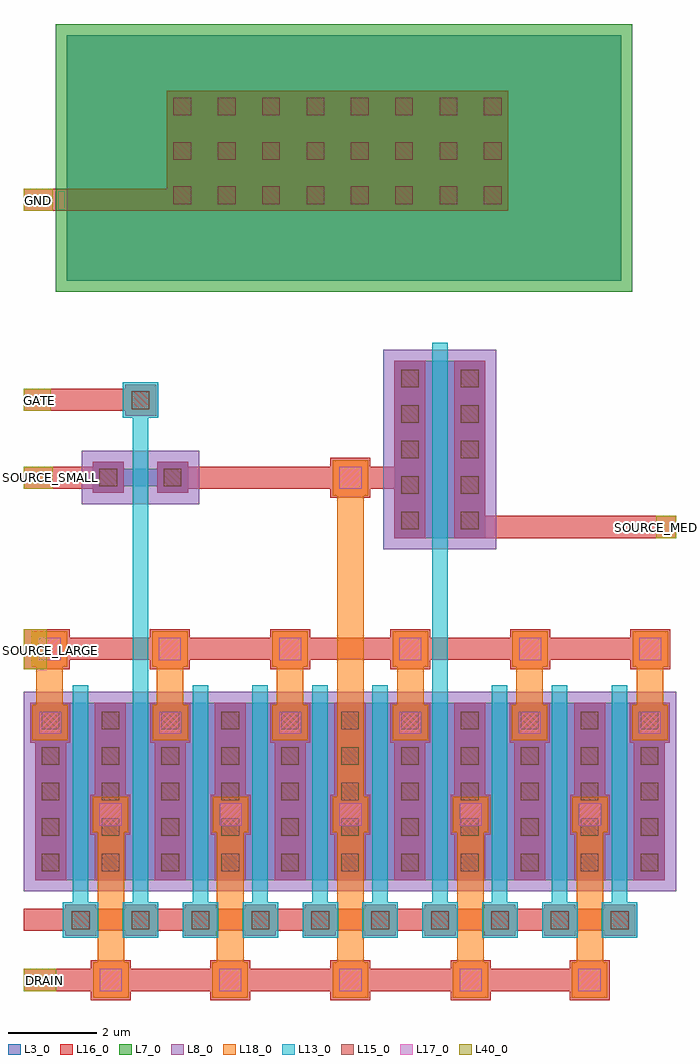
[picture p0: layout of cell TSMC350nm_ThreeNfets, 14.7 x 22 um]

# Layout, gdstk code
import gdstk
lib = gdstk.Library(unit=1e-6, precision=1e-09)
def R(c, l, rs):  # rectangles x0, y0, x1, y1
    for r in rs: c.add(gdstk.rectangle(r[:2], r[2:], *l))
def A(c, l, x, y, w, h, nx, ny, dx, dy):  # array of equal rectangles
    R(c, l, [(x+i*dx, y+j*dy, x+i*dx+w, y+j*dy+h) for i in range(nx) for j in range(ny)])
L3_0 = (3, 0)
L7_0 = (7, 0)
L8_0 = (8, 0)
L13_0 = (13, 0)
L15_0 = (15, 0)
L16_0 = (16, 0)
L17_0 = (17, 0)
L18_0 = (18, 0)
L40_0 = (40, 0)

nch_cdns_731039149290 = lib.new_cell('nch_CDNS_731039149290')
R(nch_cdns_731039149290, L3_0, [(-0.9,-0.15,-0.2,0.55), (0.55,-0.15,1.25,0.55), (-0.9,0,-0.2,0.4), (-0.2,0,0.55,0.4), (0.55,0,1.25,0.4)])
R(nch_cdns_731039149290, L8_0, [(-1.15,-0.4,1.5,0.8)])
R(nch_cdns_731039149290, L13_0, [(0,-0.4,0.35,0.8)])
R(nch_cdns_731039149290, L15_0, [(-0.75,0,-0.35,0.4), (0.7,0,1.1,0.4)])
R(nch_cdns_731039149290, L16_0, [(-0.9,-0.15,-0.2,0.55), (0.55,-0.15,1.25,0.55)])
nch_cdns_731039149290.add(gdstk.Label('G', (0.175,0.2), layer=59, texttype=0))
nch_cdns_731039149290.add(gdstk.Label('S', (-0.55,0.2), layer=59, texttype=0))
nch_cdns_731039149290.add(gdstk.Label('D', (0.9,0.2), layer=59, texttype=0))
nch_cdns_731039149290.add(gdstk.Label('& Vendor VIS Corp.', (0,0), layer=16, texttype=0))
nch_cdns_731039149290.add(gdstk.Label('& PDKName     vis35cv', (0,0), layer=16, texttype=0))
nch_cdns_731039149290.add(gdstk.Label('& Version    \t  1.7A', (0,0), layer=16, texttype=0))
nch_cdns_731039149290.add(gdstk.Label('& Metric 1', (0,0), layer=16, texttype=0))
nch_cdns_731039149290.add(gdstk.Label('& Distributor VIS', (0,0), layer=16, texttype=0))
nch_cdns_731039149290.add(gdstk.Label('& SerialNumber 000000', (0,0), layer=16, texttype=0))
nch_cdns_731039149290.add(gdstk.Label('& Vendor VIS Corp.', (0,0), layer=63, texttype=63))
nch_cdns_731039149290.add(gdstk.Label('& PDKName     vis35cv', (0,0), layer=63, texttype=63))
nch_cdns_731039149290.add(gdstk.Label('& Version    \t  1.7A', (0,0), layer=63, texttype=63))
nch_cdns_731039149290.add(gdstk.Label('& Metric 1', (0,0), layer=63, texttype=63))
nch_cdns_731039149290.add(gdstk.Label('& Distributor VIS', (0,0), layer=63, texttype=63))
nch_cdns_731039149290.add(gdstk.Label('& SerialNumber 000000', (0,0), layer=63, texttype=63))

nch_cdns_731039149291 = lib.new_cell('nch_CDNS_731039149291')
R(nch_cdns_731039149291, L3_0, [(-0.85,0,-0.15,4), (-0.85,0,-0.15,4), (-0.15,0,0.5,4), (0.5,0,1.2,4), (0.5,0,1.2,4)])
R(nch_cdns_731039149291, L8_0, [(-1.1,-0.25,1.45,4.25)])
R(nch_cdns_731039149291, L13_0, [(0,-0.4,0.35,4.4)])
A(nch_cdns_731039149291, L15_0, -0.7, 0.2, 0.4, 0.4, 1, 5, 0, 0.8)
A(nch_cdns_731039149291, L15_0, 0.65, 0.2, 0.4, 0.4, 1, 5, 0, 0.8)
R(nch_cdns_731039149291, L16_0, [(-0.85,0,-0.15,4), (0.5,0,1.2,4)])
nch_cdns_731039149291.add(gdstk.Label('G', (0.175,2), layer=59, texttype=0))
nch_cdns_731039149291.add(gdstk.Label('S', (-0.5,2), layer=59, texttype=0))
nch_cdns_731039149291.add(gdstk.Label('D', (0.85,2), layer=59, texttype=0))
nch_cdns_731039149291.add(gdstk.Label('& Vendor VIS Corp.', (0,0), layer=16, texttype=0))
nch_cdns_731039149291.add(gdstk.Label('& PDKName     vis35cv', (0,0), layer=16, texttype=0))
nch_cdns_731039149291.add(gdstk.Label('& Version    \t  1.7A', (0,0), layer=16, texttype=0))
nch_cdns_731039149291.add(gdstk.Label('& Metric 1', (0,0), layer=16, texttype=0))
nch_cdns_731039149291.add(gdstk.Label('& Distributor VIS', (0,0), layer=16, texttype=0))
nch_cdns_731039149291.add(gdstk.Label('& SerialNumber 000000', (0,0), layer=16, texttype=0))
nch_cdns_731039149291.add(gdstk.Label('& Vendor VIS Corp.', (0,0), layer=63, texttype=63))
nch_cdns_731039149291.add(gdstk.Label('& PDKName     vis35cv', (0,0), layer=63, texttype=63))
nch_cdns_731039149291.add(gdstk.Label('& Version    \t  1.7A', (0,0), layer=63, texttype=63))
nch_cdns_731039149291.add(gdstk.Label('& Metric 1', (0,0), layer=63, texttype=63))
nch_cdns_731039149291.add(gdstk.Label('& Distributor VIS', (0,0), layer=63, texttype=63))
nch_cdns_731039149291.add(gdstk.Label('& SerialNumber 000000', (0,0), layer=63, texttype=63))

nch_cdns_731039149292 = lib.new_cell('nch_CDNS_731039149292')
A(nch_cdns_731039149292, L3_0, -0.85, 0, 0.7, 4, 11, 1, 1.35, 0)
A(nch_cdns_731039149292, L3_0, -0.15, 0, 0.65, 4, 10, 1, 1.35, 0)
R(nch_cdns_731039149292, L3_0, [(-0.85,0,-0.15,4), (12.65,0,13.35,4)])
R(nch_cdns_731039149292, L8_0, [(-1.1,-0.25,13.6,4.25)])
A(nch_cdns_731039149292, L13_0, 0, -0.4, 0.35, 4.8, 10, 1, 1.35, 0)
A(nch_cdns_731039149292, L15_0, -0.7, 0.2, 0.4, 0.4, 11, 5, 1.35, 0.8)
A(nch_cdns_731039149292, L16_0, -0.85, 0, 0.7, 4, 11, 1, 1.35, 0)
nch_cdns_731039149292.add(gdstk.Label('G', (0.175,2), layer=59, texttype=0))
nch_cdns_731039149292.add(gdstk.Label('G', (1.525,2), layer=59, texttype=0))
nch_cdns_731039149292.add(gdstk.Label('G', (2.875,2), layer=59, texttype=0))
nch_cdns_731039149292.add(gdstk.Label('G', (4.225,2), layer=59, texttype=0))
nch_cdns_731039149292.add(gdstk.Label('G', (5.575,2), layer=59, texttype=0))
nch_cdns_731039149292.add(gdstk.Label('G', (6.925,2), layer=59, texttype=0))
nch_cdns_731039149292.add(gdstk.Label('G', (8.275,2), layer=59, texttype=0))
nch_cdns_731039149292.add(gdstk.Label('G', (9.625,2), layer=59, texttype=0))
nch_cdns_731039149292.add(gdstk.Label('G', (10.975,2), layer=59, texttype=0))
nch_cdns_731039149292.add(gdstk.Label('G', (12.325,2), layer=59, texttype=0))
nch_cdns_731039149292.add(gdstk.Label('S', (13,2), layer=59, texttype=0))
nch_cdns_731039149292.add(gdstk.Label('S', (-0.5,2), layer=59, texttype=0))
nch_cdns_731039149292.add(gdstk.Label('S', (2.2,2), layer=59, texttype=0))
nch_cdns_731039149292.add(gdstk.Label('S', (4.9,2), layer=59, texttype=0))
nch_cdns_731039149292.add(gdstk.Label('S', (7.6,2), layer=59, texttype=0))
nch_cdns_731039149292.add(gdstk.Label('S', (10.3,2), layer=59, texttype=0))
nch_cdns_731039149292.add(gdstk.Label('D', (0.85,2), layer=59, texttype=0))
nch_cdns_731039149292.add(gdstk.Label('D', (3.55,2), layer=59, texttype=0))
nch_cdns_731039149292.add(gdstk.Label('D', (6.25,2), layer=59, texttype=0))
nch_cdns_731039149292.add(gdstk.Label('D', (8.95,2), layer=59, texttype=0))
nch_cdns_731039149292.add(gdstk.Label('D', (11.65,2), layer=59, texttype=0))
nch_cdns_731039149292.add(gdstk.Label('& Vendor VIS Corp.', (0,0), layer=16, texttype=0))
nch_cdns_731039149292.add(gdstk.Label('& PDKName     vis35cv', (0,0), layer=16, texttype=0))
nch_cdns_731039149292.add(gdstk.Label('& Version    \t  1.7A', (0,0), layer=16, texttype=0))
nch_cdns_731039149292.add(gdstk.Label('& Metric 1', (0,0), layer=16, texttype=0))
nch_cdns_731039149292.add(gdstk.Label('& Distributor VIS', (0,0), layer=16, texttype=0))
nch_cdns_731039149292.add(gdstk.Label('& SerialNumber 000000', (0,0), layer=16, texttype=0))
nch_cdns_731039149292.add(gdstk.Label('& Vendor VIS Corp.', (0,0), layer=63, texttype=63))
nch_cdns_731039149292.add(gdstk.Label('& PDKName     vis35cv', (0,0), layer=63, texttype=63))
nch_cdns_731039149292.add(gdstk.Label('& Version    \t  1.7A', (0,0), layer=63, texttype=63))
nch_cdns_731039149292.add(gdstk.Label('& Metric 1', (0,0), layer=63, texttype=63))
nch_cdns_731039149292.add(gdstk.Label('& Distributor VIS', (0,0), layer=63, texttype=63))
nch_cdns_731039149292.add(gdstk.Label('& SerialNumber 000000', (0,0), layer=63, texttype=63))

m1_pactive_cdns_73103914 = lib.new_cell('M1_PACTIVE_CDNS_731039149292')
R(m1_pactive_cdns_73103914, L3_0, [(-3.95,-1.45,3.95,1.45)])
R(m1_pactive_cdns_73103914, L7_0, [(-4.2,-1.7,4.2,1.7)])
A(m1_pactive_cdns_73103914, L15_0, -3.7, -1.2, 0.4, 0.4, 8, 3, 1, 1)
R(m1_pactive_cdns_73103914, L16_0, [(-3.85,-1.35,3.85,1.35)])

m1_poly1__190324780_cdns = lib.new_cell('M1_POLY1$$190324780_CDNS_731208373190')
R(m1_poly1__190324780_cdns, L13_0, [(-0.4,-0.4,0.4,0.4)])
R(m1_poly1__190324780_cdns, L15_0, [(-0.2,-0.2,0.2,0.2)])
R(m1_poly1__190324780_cdns, L16_0, [(-0.35,-0.35,0.35,0.35)])

prog_periph_via2_cdns_73 = lib.new_cell('prog_periph_VIA2_CDNS_731208373191')
R(prog_periph_via2_cdns_73, L16_0, [(-0.45,-0.45,0.45,0.45)])
R(prog_periph_via2_cdns_73, L17_0, [(-0.25,-0.25,0.25,0.25)])
R(prog_periph_via2_cdns_73, L18_0, [(-0.4,-0.4,0.4,0.4)])

tsmc350nm_threenfets = lib.new_cell('TSMC350nm_ThreeNfets')
R(tsmc350nm_threenfets, L3_0, [(0.97,16.21,13.46,21.75)])
R(tsmc350nm_threenfets, L7_0, [(0.72,15.96,13.71,22)])
A(tsmc350nm_threenfets, L13_0, 1.1, 1.64, 0.35, 0.97, 10, 1, 1.35, 0)
R(tsmc350nm_threenfets, L13_0, [(9.2,6.93,9.55,11.09), (2.45,7.04,2.8,13.28)])
R(tsmc350nm_threenfets, L16_0, [(0,0.2,13.01,0.7), (0,1.56,13.66,2.06), (0,7.46,0.13,8.36), (0,7.67,14.02,8.17), (9.7,10.41,14.7,10.91), (0,11.52,2.04,12.02), (3.27,11.52,8.93,12.02), (0,13.28,2.86,13.78), (0,17.79,3.22,18.29)])
A(tsmc350nm_threenfets, L18_0, 0.28, 5.99, 0.6, 1.88, 4, 1, 2.71, 0)
R(tsmc350nm_threenfets, L18_0, [(1.66,0.37,2.26,4.48), (4.35,0.37,4.95,4.48), (7.06,0.37,7.66,12.05), (9.77,0.37,10.37,4.48), (12.46,0.37,13.06,4.48), (11.1,5.99,11.7,7.87), (13.81,5.99,14.41,7.87)])
R(tsmc350nm_threenfets, L40_0, [(0,0.2,0.73,0.7), (0,7.46,0.52,8.36), (14.25,10.41,14.7,10.91), (0,11.52,0.65,12.02), (0,13.28,0.6,13.78), (0,17.79,0.65,18.29)])
tsmc350nm_threenfets.add(gdstk.Reference(nch_cdns_731039149290, (2.45,11.58)))
tsmc350nm_threenfets.add(gdstk.Reference(nch_cdns_731039149291, (9.2,10.41)))
tsmc350nm_threenfets.add(gdstk.Reference(nch_cdns_731039149292, (1.1,2.7)))
tsmc350nm_threenfets.add(gdstk.Reference(m1_pactive_cdns_73103914, (7.07,19.14)))
tsmc350nm_threenfets.add(gdstk.Reference(m1_poly1__190324780_cdns, (1.28,1.8)))
tsmc350nm_threenfets.add(gdstk.Reference(m1_poly1__190324780_cdns, (2.63,13.52)))
tsmc350nm_threenfets.add(gdstk.Reference(m1_poly1__190324780_cdns, (2.63,1.8)))
tsmc350nm_threenfets.add(gdstk.Reference(m1_poly1__190324780_cdns, (3.98,1.8)))
tsmc350nm_threenfets.add(gdstk.Reference(m1_poly1__190324780_cdns, (5.33,1.8)))
tsmc350nm_threenfets.add(gdstk.Reference(m1_poly1__190324780_cdns, (6.68,1.8)))
tsmc350nm_threenfets.add(gdstk.Reference(m1_poly1__190324780_cdns, (8.03,1.8)))
tsmc350nm_threenfets.add(gdstk.Reference(m1_poly1__190324780_cdns, (9.38,1.8)))
tsmc350nm_threenfets.add(gdstk.Reference(m1_poly1__190324780_cdns, (10.73,1.8)))
tsmc350nm_threenfets.add(gdstk.Reference(m1_poly1__190324780_cdns, (12.08,1.8)))
tsmc350nm_threenfets.add(gdstk.Reference(m1_poly1__190324780_cdns, (13.43,1.8)))
tsmc350nm_threenfets.add(gdstk.Reference(prog_periph_via2_cdns_73, (0.59,6.25)))
tsmc350nm_threenfets.add(gdstk.Reference(prog_periph_via2_cdns_73, (3.3,6.25)))
tsmc350nm_threenfets.add(gdstk.Reference(prog_periph_via2_cdns_73, (8.71,6.25)))
tsmc350nm_threenfets.add(gdstk.Reference(prog_periph_via2_cdns_73, (6,6.25)))
tsmc350nm_threenfets.add(gdstk.Reference(prog_periph_via2_cdns_73, (14.11,6.25)))
tsmc350nm_threenfets.add(gdstk.Reference(prog_periph_via2_cdns_73, (11.4,6.25)))
tsmc350nm_threenfets.add(gdstk.Reference(prog_periph_via2_cdns_73, (4.66,4.18)))
tsmc350nm_threenfets.add(gdstk.Reference(prog_periph_via2_cdns_73, (10.07,4.18)))
tsmc350nm_threenfets.add(gdstk.Reference(prog_periph_via2_cdns_73, (7.36,4.18)))
tsmc350nm_threenfets.add(gdstk.Reference(prog_periph_via2_cdns_73, (12.76,4.18)))
tsmc350nm_threenfets.add(gdstk.Reference(prog_periph_via2_cdns_73, (1.95,4.18)))
tsmc350nm_threenfets.add(gdstk.Reference(prog_periph_via2_cdns_73, (1.96,0.45)))
tsmc350nm_threenfets.add(gdstk.Reference(prog_periph_via2_cdns_73, (4.65,0.45)))
tsmc350nm_threenfets.add(gdstk.Reference(prog_periph_via2_cdns_73, (7.36,0.45)))
tsmc350nm_threenfets.add(gdstk.Reference(prog_periph_via2_cdns_73, (10.07,0.45)))
tsmc350nm_threenfets.add(gdstk.Reference(prog_periph_via2_cdns_73, (12.75,0.45)))
tsmc350nm_threenfets.add(gdstk.Reference(prog_periph_via2_cdns_73, (0.58,7.91)))
tsmc350nm_threenfets.add(gdstk.Reference(prog_periph_via2_cdns_73, (3.29,7.91)))
tsmc350nm_threenfets.add(gdstk.Reference(prog_periph_via2_cdns_73, (6,7.91)))
tsmc350nm_threenfets.add(gdstk.Reference(prog_periph_via2_cdns_73, (8.71,7.91)))
tsmc350nm_threenfets.add(gdstk.Reference(prog_periph_via2_cdns_73, (11.41,7.91)))
tsmc350nm_threenfets.add(gdstk.Reference(prog_periph_via2_cdns_73, (14.12,7.91)))
tsmc350nm_threenfets.add(gdstk.Reference(prog_periph_via2_cdns_73, (7.36,11.77)))
tsmc350nm_threenfets.add(gdstk.Label('GND', (0.32,18.03), layer=40, texttype=0))
tsmc350nm_threenfets.add(gdstk.Label('GATE', (0.36,13.52), layer=40, texttype=0))
tsmc350nm_threenfets.add(gdstk.Label('SOURCE_SMALL', (0.35,11.78), layer=40, texttype=0))
tsmc350nm_threenfets.add(gdstk.Label('SOURCE_MED', (14.46,10.66), layer=40, texttype=0))
tsmc350nm_threenfets.add(gdstk.Label('DRAIN', (0.46,0.45), layer=40, texttype=0))
tsmc350nm_threenfets.add(gdstk.Label('SOURCE_LARGE', (0.24,7.88), layer=40, texttype=0))

lib.write_gds('TSMC350nm_ThreeNfets.gds')
